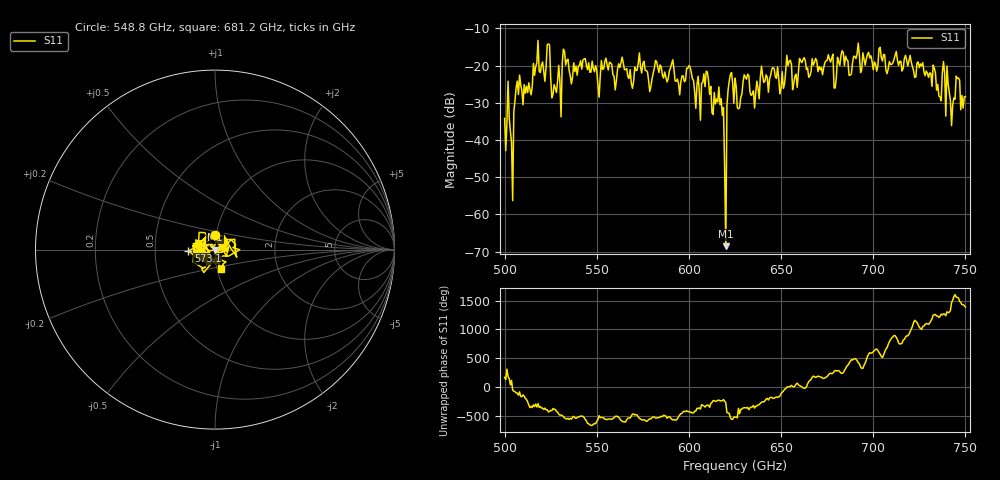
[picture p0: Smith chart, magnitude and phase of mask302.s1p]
!Created with skrf (http://scikit-rf.org).
# GHz S MA R 50.0
!freq magS11 angS11
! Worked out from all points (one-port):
!   401 points, 500 GHz to 750 GHz, reference 50 ohm
!   lowest |S11| = -68.5 dB at 620 GHz (marker M1), VSWR 1.00, Z = 50 + j0.0375 ohm
!   |S11| at or under -10 dB: start of sweep to end of sweep
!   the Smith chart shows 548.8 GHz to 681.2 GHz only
!   S11 on the Smith chart (normalised r, x): 548.8 GHz: 0.98, +0.16; 573.1 GHz: 0.74, -0.01; 681.2 GHz: 1.04, -0.23
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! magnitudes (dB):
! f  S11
! 500 GHz  -34.2
! 502.5 GHz  -34.0
! 503.8 GHz  -40.6
! 506.9 GHz  -24.1
! 513.8 GHz  -26.4
! 516.9 GHz  -20.2
! 523.8 GHz  -14.2
! 526.9 GHz  -25.1
! 531.2 GHz  -19.5
! 548.8 GHz  -21.6
! 562.5 GHz  -20.5
! 568.8 GHz  -24.7
! 573.1 GHz  -16.6
! 593.8 GHz  -23.6
! 600 GHz  -20.0
! 605 GHz  -22.8
! 609.4 GHz  -21.5
! 617.5 GHz  -28.9
! 618.8 GHz  -31.3
! 620 GHz  -68.5
! 621.9 GHz  -24.1
! 625 GHz  -23.4
! 656.2 GHz  -26.5
! 681.2 GHz  -19.0
! 687.5 GHz  -22.6
! 718.8 GHz  -20.1
! 743.1 GHz  -30.5
! 750 GHz  -28.3
